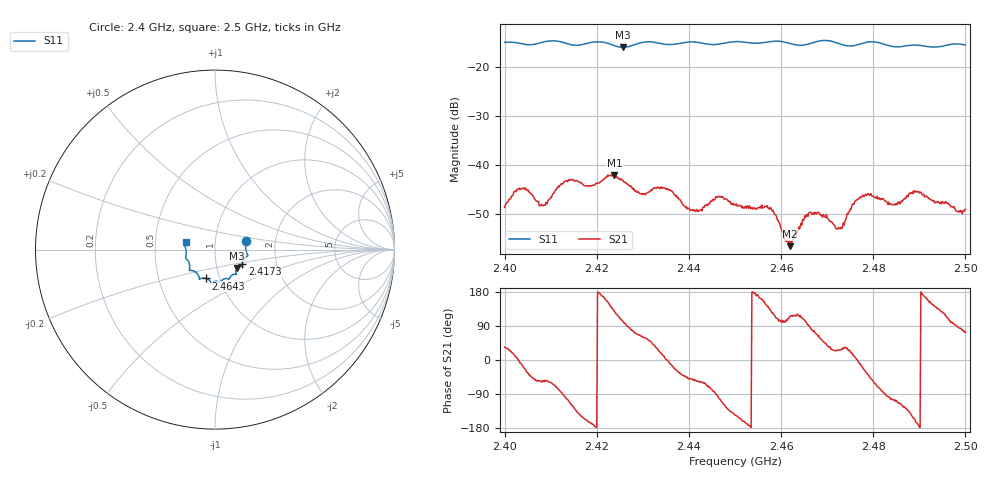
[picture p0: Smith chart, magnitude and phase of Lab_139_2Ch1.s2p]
# Hz S RI R 50
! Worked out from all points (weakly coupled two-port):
!   601 points, 2.4 GHz to 2.5 GHz, reference 50 ohm
!   highest |S21| = -42.12 dB at 2.4238 GHz (marker M1); lowest = -56.7 dB at 2.462 GHz (marker M2)
!   lowest |S11| = -15.9 dB at 2.4257 GHz (marker M3), VSWR 1.38, Z = 62.5 - j13.1 ohm
!   |S11| at or under -10 dB: start of sweep to end of sweep
!   S12 and S22 are empty: the file has one direction only
!   S11 on the Smith chart (normalised r, x): 2.4 GHz: 1.41, +0.14; 2.4173 GHz: 1.34, -0.23; 2.4643 GHz: 0.86, -0.28; 2.5 GHz: 0.72, +0.06
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2.4e9  0.1731 0.0498  0.00302 0.00205  0 0  0 0
2.403167e9  0.1733 0.0336  0.00574 -0.000211  0 0  0 0
2.408167e9  0.1789 -0.0222  0.00217 -0.00315  0 0  0 0
2.413333e9  0.1706 -0.0421  -0.00133 -0.00671  0 0  0 0
2.416667e9  0.1529 -0.0749  -0.0056 -0.00335  0 0  0 0
2.417333e9  0.1522 -0.0824  -0.00556 -0.00254  0 0  0 0
2.423833e9  0.1379 -0.0938  -0.00485 0.00616  0 0  0 0
2.425667e9  0.1227 -0.1023  -0.00147 0.00672  0 0  0 0
2.43e9  0.1179 -0.1363  0.00255 0.00439  0 0  0 0
2.433333e9  0.1125 -0.1366  0.00529 0.00266  0 0  0 0
2.440833e9  0.0784 -0.1647  0.00221 -0.0027  0 0  0 0
2.446333e9  0.0448 -0.1663  -0.000542 -0.00471  0 0  0 0
2.45e9  0.0298 -0.181  -0.0032 -0.00222  0 0  0 0
2.4575e9  -0.0165 -0.182  -0.00247 0.00247  0 0  0 0
2.462e9  -0.0294 -0.1724  -0.000633 0.00132  0 0  0 0
2.464333e9  -0.0501 -0.1606  -0.000974 0.00232  0 0  0 0
2.466667e9  -0.0762 -0.16  0.000497 0.00309  0 0  0 0
2.472667e9  -0.0896 -0.1499  0.002 0.000993  0 0  0 0
2.477333e9  -0.1296 -0.1163  0.00446 -0.00113  0 0  0 0
2.483333e9  -0.141 -0.0895  -0.000546 -0.0041  0 0  0 0
2.489333e9  -0.1628 -0.0444  -0.00507 -0.00144  0 0  0 0
2.5e9  -0.1635 0.0421  0.00101 0.00335  0 0  0 0
